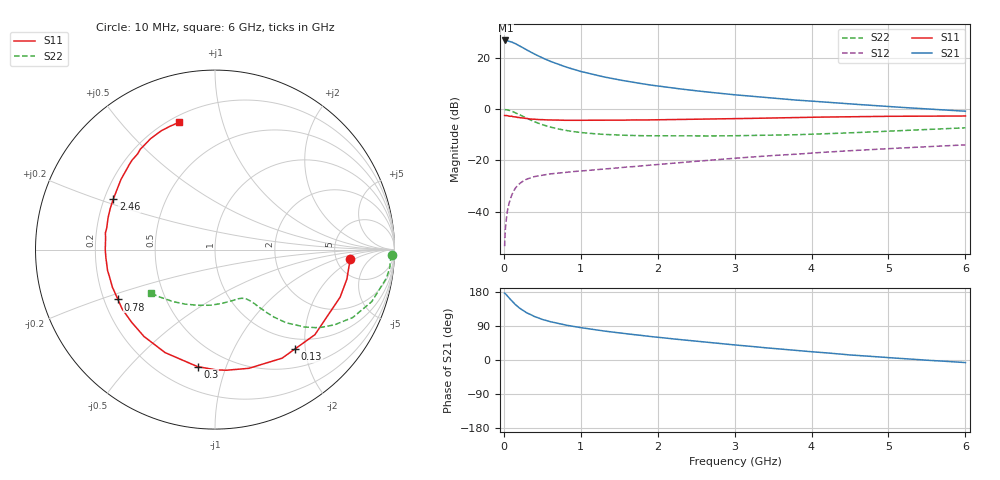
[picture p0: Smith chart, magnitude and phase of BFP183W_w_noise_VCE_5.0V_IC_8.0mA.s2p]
! Infineon Technologies  Discrete & RF Semiconductors
! BFP183W
! VCE = 5.0 V,  IC =  8.0 mA
! Common Emitter S-Parameters:  Jan 2016
# GHz  S  MA  R  50
!  f  S11  S21  S12  S22
! GHz  MAG  ANG  MAG  ANG  MAG  ANG  MAG  ANG
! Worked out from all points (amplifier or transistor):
!   210 points, 10 MHz to 6 GHz, reference 50 ohm
!   highest |S21| = 26.9 dB at 20 MHz (marker M1)
!   |S21| within 3 dB of that: start of sweep to 257.1 MHz
!   unconditionally stable (mu >= 1): 1.505 GHz to 5.653 GHz
!   at 185 MHz: K = 0.19, MSG = 27.4 dB, |S12| = -29.7 dB
!   at 1.52 GHz: K = 1.00, MAG = 16.7 dB, |S12| = -22.8 dB
!   at 6 GHz: K = 0.98, MSG = 6.6 dB, |S12| = -14.0 dB
!   lowest NFmin = 1.30 dB at 450 MHz
!   S11 on the Smith chart (normalised r, x): 10 MHz: 6.73, -1.69; 130 MHz: 0.81, -1.81; 300 MHz: 0.35, -0.80; 780 MHz: 0.26, -0.23; 2.46 GHz: 0.24, +0.22; 6 GHz: 0.24, +0.73
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0.01  0.7551 -4.1  22.08 176.6  0.0021 89.5  0.9864 -1.9
0.02  0.7522 -8.3  22.09 175.0  0.0045 88.3  0.9779 -3.9
0.05  0.7458 -20.8  21.77 167.8  0.011 79.4  0.9674 -9.6
0.1  0.7312 -40.4  20.66 156.6  0.0205 70.4  0.92 -18.4
0.13  0.7107 -51.0  19.68 150.5  0.0254 65.2  0.8797 -22.9
0.15  0.7111 -58.3  19.16 146.2  0.0287 62.8  0.8561 -26.2
0.2  0.6879 -74.0  17.48 137.5  0.0346 56.4  0.7865 -32.2
0.24  0.6752 -84.5  16.17 131.9  0.0384 52.1  0.7345 -36.1
0.3  0.6591 -98.5  14.34 124.2  0.0431 47.2  0.6603 -40.8
0.4  0.6378 -115.8  11.92 114.5  0.0482 41.7  0.5668 -45.9
0.5  0.6252 -129.3  10.08 107.0  0.0514 38.8  0.4979 -48.9
0.6  0.616 -139.2  8.671 101.2  0.0543 37.2  0.4488 -50.8
0.78  0.6077 -152.8  6.909 93.2  0.0578 36.1  0.3912 -53.1
1.02  0.6067 -165.5  5.383 84.8  0.0621 36.5  0.3479 -55.4
1.2  0.6093 -173.1  4.621 79.4  0.0657 37.1  0.3295 -57.1
1.42  0.6112 179.5  3.944 73.5  0.0699 38.7  0.316 -59.5
2.02  0.6218 163.3  2.817 59.6  0.0834 42.0  0.3008 -67.5
2.46  0.6325 153.6  2.328 50.4  0.0947 43.2  0.2998 -74.9
3.1  0.6571 141.2  1.858 38.0  0.1127 43.5  0.3039 -87.1
4.1  0.7 125.3  1.405 20.3  0.142 41.4  0.3278 -109.4
5.1  0.7271 113.5  1.103 4.9  0.1724 37.5  0.3783 -131.2
6  0.7368 105.8  0.914 -6.8  0.2006 33.6  0.4326 -145.9
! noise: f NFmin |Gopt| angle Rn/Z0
0.45  1.3  0.17  43  0.21
0.9  1.35  0.21  115  0.2
1.8  2.05  0.33  -177  0.14
